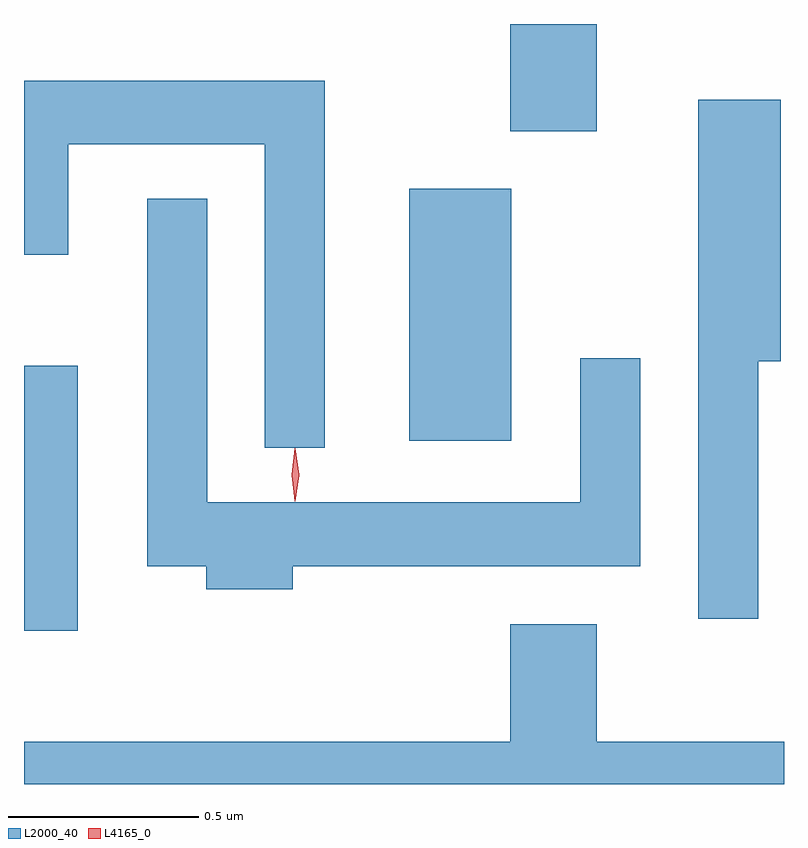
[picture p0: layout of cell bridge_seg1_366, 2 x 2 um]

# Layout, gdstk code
import gdstk
lib = gdstk.Library(unit=1e-6, precision=1e-09)
def R(c, l, rs):  # rectangles x0, y0, x1, y1
    for r in rs: c.add(gdstk.rectangle(r[:2], r[2:], *l))
def P(c, l, *ps):  # polygons
    for p in ps: c.add(gdstk.Polygon(p, *l))
L2000_40 = (2000, 40)
L4165_0 = (4165, 0)

bridge_seg1_366 = lib.new_cell('bridge_seg1_366')
R(bridge_seg1_366, L2000_40, [(926.862,873.496,927.004,874.194), (927.876,873.996,928.144,874.659), (928.141,874.811,928.369,875.093)])
P(bridge_seg1_366, L2000_40, [(927.654,874.944),(926.862,874.944),(926.862,874.486),(926.979,874.486),(926.979,874.776),(927.496,874.776),(927.496,873.978),(927.654,873.978)],
  [(928.794,874.206),(928.854,874.206),(928.854,874.894),(928.636,874.894),(928.636,873.528),(928.794,873.528)],
  [(927.569,873.666),(928.484,873.666),(928.484,874.213),(928.326,874.213),(928.326,873.834),(927.344,873.834),(927.344,874.633),(927.186,874.633),(927.186,873.666),(927.341,873.666),(927.341,873.606),(927.569,873.606)],
  [(928.862,873.204),(928.369,873.204),(928.369,873.514),(928.141,873.514),(928.141,873.204),(926.862,873.204),(926.862,873.093),(928.862,873.093)])
P(bridge_seg1_366, L4165_0, [(927.575,873.837),(927.566,873.907),(927.575,873.976),(927.576,873.976),(927.576,873.976),(927.586,873.907),(927.576,873.837),(927.576,873.837)],
  [(927.575,873.84),(927.566,873.906),(927.575,873.972),(927.576,873.973),(927.576,873.972),(927.586,873.906),(927.576,873.84),(927.576,873.84)])

lib.write_gds('bridge_seg1_366.gds')
